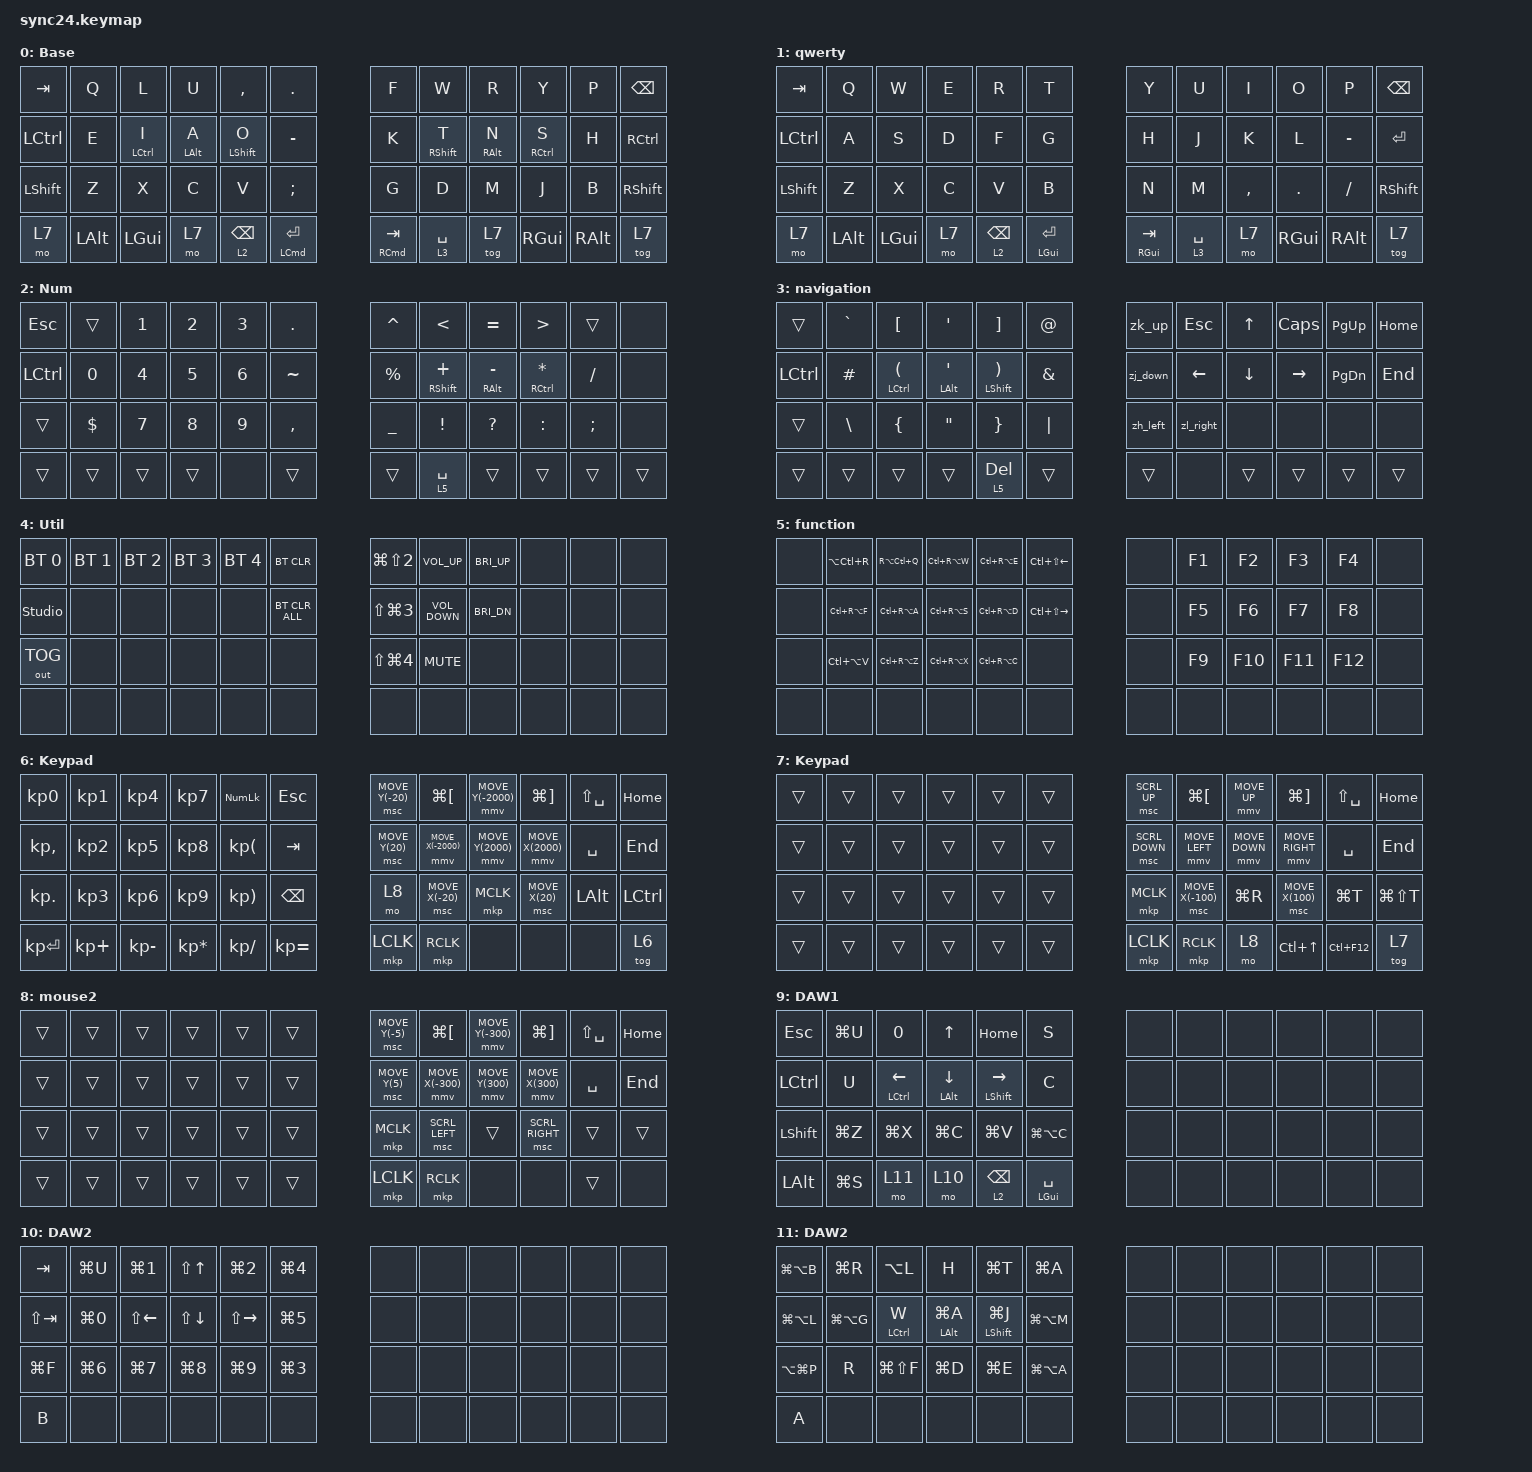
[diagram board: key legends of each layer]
#define ZMK_BEHAVIORS_OMIT_KT

#undef ZMK_BEHAVIORS_KEEP_ALL

#define ZMK_BEHAVIORS_KEEP_SK
#define ZMK_BEHAVIORS_KEEP_MT
#define ZMK_BEHAVIORS_KEEP_KT
#define ZMK_POINTING_DEFAULT_MOVE_VAL 1800    // default: 600
#define ZMK_POINTING_DEFAULT_SCRL_VAL 20      // default: 10

#include <behaviors.dtsi>
#include <dt-bindings/zmk/bt.h>
#include <dt-bindings/zmk/keys.h>
#include <dt-bindings/zmk/outputs.h>
#include <dt-bindings/zmk/pointing.h>

&mt {
    flavor = "tap-preferred";
    tapping-term-ms = <225>;
    quick-tap-ms = <200>;
    require-prior-idle-ms = <150>;
};

&lt {
    flavor = "balanced";
    tapping-term-ms = <175>;
    quick-tap-ms = <200>;
};

&sk {
};

&sl {
};

&caps_word {
};

&key_repeat {
};

&mmv {
    time-to-max-speed-ms = <500>;
    acceleration-exponent = <2>;
};

/ {
    // キー番号早見表：
    // 0  1  2  3  4  5     6  7  8  9 10 11
    // 12 13 14 15 16 17    18 19 20 21 22 23
    // 24 25 26 27 28 29    30 31 32 33 34 35
    // 36 37 38 39 40 41    42 43 44 45 46 47

    combos {
        compatible = "zmk,combos";

        combo_us {
            timeout-ms = <50>;
            key-positions = <3 2>;
            bindings = <&kp LANG2>;
        };

        combo_kana {
            timeout-ms = <50>;
            key-positions = <8 9>;
            bindings = <&kp LANG1>;
        };

        combo_raycast {
            timeout-ms = <50>;
            key-positions = <16 40>;
            bindings = <&kp LG(SPACE)>;
        };

        combo_optspace {
            timeout-ms = <50>;
            key-positions = <19 43>;
            bindings = <&kp LA(SPACE)>;
        };

        Utill {
            bindings = <&mo 4>;
            key-positions = <36 37>;
        };

        keypad {
            bindings = <&tog 6>;
            key-positions = <36 12>;
        };

        QWERTY {
            bindings = <&QWERTY>;
            key-positions = <46 37>;
        };

        daw {
            bindings = <&tog 9>;
            key-positions = <36 24>;
        };
    };

    macros {
        mouse: new_macro {
            compatible = "zmk,behavior-macro";
            #binding-cells = <0>;
            bindings = <&tog 0 &tog 7>;
            label = "NEW_MACRO";
        };

        QWERTY: QWERTY {
            compatible = "zmk,behavior-macro";
            #binding-cells = <0>;
            bindings = <&tog 1 &tog 0>;
            label = "QWERTY";
        };

        zh_left: zh {
            compatible = "zmk,behavior-macro";
            #binding-cells = <0>;
            bindings = <&kp LANGUAGE_1>, <&macro_wait_time 2>, <&kp Z &kp H>;

            label = "ZH";
        };

        zk_up: zk {
            compatible = "zmk,behavior-macro";
            #binding-cells = <0>;
            bindings = <&kp LANGUAGE_1>, <&macro_wait_time 2>, <&kp Z &kp K>;

            label = "ZK";
        };

        zj_down: zj_down {
            compatible = "zmk,behavior-macro";
            #binding-cells = <0>;
            bindings = <&kp LANGUAGE_1>, <&macro_wait_time 2>, <&kp Z &kp J>;

            label = "ZJ_DOWN";
        };

        zl_right: zl_right {
            compatible = "zmk,behavior-macro";
            #binding-cells = <0>;
            bindings = <&kp LANGUAGE_1>, <&macro_wait_time 2>, <&kp Z &kp L>;

            label = "ZL_RIGHT";
        };

        nakaguro: nakaguro {
            compatible = "zmk,behavior-macro";
            #binding-cells = <0>;
            bindings =
                <&kp LANGUAGE_1>,
                <&macro_wait_time 2>,
                <&kp SLASH>,
                <&macro_wait_time 2>,
                <&kp LANGUAGE_2>;

            label = "NAKAGURO";
        };
    };

    behaviors {
        toggle_on: toggle_on {
            compatible = "zmk,behavior-toggle-layer";
            label = "TOGGLE_ON";
            #binding-cells = <1>;
        };

        toggle_off: toggle_off {
            compatible = "zmk,behavior-toggle-layer";
            label = "TOGGLE_OFF";
            #binding-cells = <1>;
            toggle-mode = "off";
        };

        Mous_MoveUp: Mous_MoveUp {
            compatible = "zmk,behavior-tap-dance";
            label = "MOUS_MOVEUP";
            #binding-cells = <0>;
            bindings = <&mmv MOVE_Y(-1200)>, <&mmv MOVE_Y(-2000)>;

            tapping-term-ms = <175>;
        };

        Mouse_MoveDown: Mouse_MoveDown {
            compatible = "zmk,behavior-tap-dance";
            label = "MOUSE_MOVEDOWN";
            #binding-cells = <0>;
            bindings = <&mmv MOVE_Y(1200)>, <&mmv MOVE_Y(2000)>;

            tapping-term-ms = <175>;
        };

        Mouse_MoveLeft: Mouse_MoveLeft {
            compatible = "zmk,behavior-tap-dance";
            label = "MOUSE_MOVELEFT";
            #binding-cells = <0>;
            bindings = <&mmv MOVE_X(-1200)>, <&mmv MOVE_X(-2000)>;

            tapping-term-ms = <175>;
        };

        Mouse_MoveRight: Mouse_MoveRight {
            compatible = "zmk,behavior-tap-dance";
            label = "MOUSE_MOVERIGHT";
            #binding-cells = <0>;
            bindings = <&mmv MOVE_X(1200)>, <&mmv MOVE_X(2000)>;

            tapping-term-ms = <175>;
        };
    };

    keymap {
        compatible = "zmk,keymap";

        // ▄▄▄▄▄▄▄▄▄▄▄▄▄▄▄▄▄▄▄▄▄▄▄▄▄▄▄▄▄▄▄▄▄▄▄▄▄▄▄▄▄▄▄▄▄▄▄▄▄▄▄▄▄▄▄▄▄▄▄▄▄▄▄▄▄▄▄▄▄▄▄▄▄▄▄▄▄▄▄▄▄▄▄▄▄▄▄▄▄▄▄▄▄▄▄▄▄▄▄▄▄▄▄▄▄▄▄▄▄▄▄▄▄▄▄▄▄▄▄▄▄▄▄▄▄▄▄▄▄▄▄▄▄▄▄▄▄▄▄▄▄▄▄▄▄▄▄▄▄

        base {
            display-name = "Base";
            bindings = <
&kp TAB           &kp Q         &kp L         &kp U       &kp COMMA     &kp DOT           &kp F         &kp W         &kp R       &kp Y          &kp P          &kp BACKSPACE
&kp LEFT_CONTROL  &kp E         &mt LCTRL I   &mt LALT A  &mt LSHIFT O  &kp MINUS         &kp K         &mt RSHIFT T  &mt RALT N  &mt RCTRL S    &kp H          &kp RIGHT_CONTROL
&kp LSHFT         &kp Z         &kp X         &kp C       &kp V         &kp SEMI          &kp G         &kp D         &kp M       &kp J          &kp B          &kp RSHIFT
&mo 7             &kp LEFT_ALT  &kp LEFT_GUI  &mo 7       &lt 2 BSPC    &mt LCMD RET      &mt RCMD TAB  &lt 3 SPACE   &tog 7      &kp RIGHT_GUI  &kp RIGHT_ALT  &tog 7
            >;
        };

        QWERTY {
            bindings = <
&kp TAB    &kp Q         &kp W         &kp E  &kp R            &kp T                   &kp Y              &kp U        &kp I      &kp O          &kp P          &kp BSPC
&kp LCTRL  &kp A         &kp S         &kp D  &kp F            &kp G                   &kp H              &kp J        &kp K      &kp L          &kp MINUS      &kp RET
&kp LSHFT  &kp Z         &kp X         &kp C  &kp V            &kp B                   &kp N              &kp M        &kp COMMA  &kp DOT        &kp FSLH       &kp RSHFT
&mo 7      &kp LEFT_ALT  &kp LEFT_GUI  &mo 7  &lt 2 BACKSPACE  &mt LEFT_GUI ENTER      &mt RIGHT_GUI TAB  &lt 3 SPACE  &mo 7      &kp RIGHT_GUI  &kp RIGHT_ALT  &tog 7
            >;

            label = "qwerty";
        };

        num {
            display-name = "Num";
            bindings = <
&kp ESC    &trans    &kp N1  &kp N2  &kp N3  &kp DOT        &kp CARET    &kp LT           &kp EQUAL       &kp GT          &trans    &none
&kp LCTRL  &kp N0    &kp N4  &kp N5  &kp N6  &kp TILDE      &kp PERCENT  &mt RSHIFT PLUS  &mt RALT MINUS  &mt RCTRL STAR  &kp FSLH  &none
&trans     &kp DLLR  &kp N7  &kp N8  &kp N9  &kp COMMA      &kp UNDER    &kp EXCL         &kp QMARK       &kp COLON       &kp SEMI  &none
&trans     &trans    &trans  &trans  &none   &trans         &trans       &lt 5 SPACE      &trans          &trans          &trans    &trans
            >;
        };

        navigation {
            display-name = "navigation";
            bindings = <
&trans     &kp GRAVE  &kp LBKT        &kp SQT            &kp RBKT        &kp AT_SIGN      &zk_up    &kp ESC    &kp UP    &kp CAPS   &kp PG_UP  &kp HOME
&kp LCTRL  &kp HASH   &mt LCTRL LPAR  &mt LALT SQT       &mt LSHFT RPAR  &kp AMPS         &zj_down  &kp LEFT   &kp DOWN  &kp RIGHT  &kp PG_DN  &kp END
&trans     &kp BSLH   &kp LBRC        &kp DOUBLE_QUOTES  &kp RBRC        &kp PIPE         &zh_left  &zl_right  &none     &none      &none      &none
&trans     &trans     &trans          &trans             &lt 5 DEL       &trans           &trans    &none      &trans    &trans     &trans     &trans
            >;
        };

        Utility {
            display-name = "Util";
            bindings = <
&bt BT_SEL 0    &bt BT_SEL 1  &bt BT_SEL 2  &bt BT_SEL 3  &bt BT_SEL 4  &bt BT_CLR          &kp LG(LS(N2))  &kp C_VOLUME_UP    &kp C_BRI_UP  &none  &none  &none
&studio_unlock  &none         &none         &none         &none         &bt BT_CLR_ALL      &kp LS(LG(N3))  &kp C_VOLUME_DOWN  &kp C_BRI_DN  &none  &none  &none
&out OUT_TOG    &none         &none         &none         &none         &none               &kp LS(LG(N4))  &kp K_MUTE         &none         &none  &none  &none
&none           &none         &none         &none         &none         &none               &none           &none              &none         &none  &none  &none
            >;
        };

        function {
            display-name = "function";
            bindings = <
&none  &kp LA(LC(R))  &kp RA(LC(Q))  &kp LC(RA(W))  &kp LC(RA(E))  &kp LC(LS(LEFT_ARROW))       &none  &kp F1  &kp F2   &kp F3   &kp F4   &none
&none  &kp LC(RA(F))  &kp LC(RA(A))  &kp LC(RA(S))  &kp LC(RA(D))  &kp LC(LS(RIGHT_ARROW))      &none  &kp F5  &kp F6   &kp F7   &kp F8   &none
&none  &kp LC(LA(V))  &kp LC(RA(Z))  &kp LC(RA(X))  &kp LC(RA(C))  &none                        &none  &kp F9  &kp F10  &kp F11  &kp F12  &none
&none  &none          &none          &none          &none          &none                        &none  &none   &none    &none    &none    &none
            >;
        };

        keypad {
            display-name = "Keypad";
            bindings = <
&kp KP_NUMBER_0  &kp KP_NUMBER_1  &kp KP_NUMBER_4  &kp KP_NUMBER_7  &kp KP_NUMLOCK            &kp ESCAPE         &msc MOVE_Y(-20)  &kp LG(LEFT_BRACKET)  &mmv MOVE_Y(-2000)  &kp LG(RIGHT_BRACKET)  &kp LS(SPACE)  &kp HOME
&kp KP_COMMA     &kp KP_NUMBER_2  &kp KP_NUMBER_5  &kp KP_NUMBER_8  &kp KP_LEFT_PARENTHESIS   &kp TAB            &msc MOVE_Y(20)   &mmv MOVE_X(-2000)    &mmv MOVE_Y(2000)   &mmv MOVE_X(2000)      &kp SPACE      &kp END
&kp KP_DOT       &kp KP_NUMBER_3  &kp KP_NUMBER_6  &kp KP_NUMBER_9  &kp KP_RIGHT_PARENTHESIS  &kp BACKSPACE      &mo 8             &msc MOVE_X(-20)      &mkp MCLK           &msc MOVE_X(20)        &kp LEFT_ALT   &kp LCTRL
&kp KP_ENTER     &kp KP_PLUS      &kp KP_SUBTRACT  &kp KP_ASTERISK  &kp KP_SLASH              &kp KP_EQUAL       &mkp LCLK         &mkp RCLK             &none               &none                  &none          &tog 6
            >;
        };

        mouse {
            display-name = "Keypad";
            bindings = <
&trans  &trans  &trans  &trans  &trans  &trans      &msc SCRL_UP    &kp LG(LEFT_BRACKET)  &mmv MOVE_UP    &kp LG(RIGHT_BRACKET)  &kp LS(SPACE)  &kp HOME
&trans  &trans  &trans  &trans  &trans  &trans      &msc SCRL_DOWN  &mmv MOVE_LEFT        &mmv MOVE_DOWN  &mmv MOVE_RIGHT        &kp SPACE      &kp END
&trans  &trans  &trans  &trans  &trans  &trans      &mkp MCLK       &msc MOVE_X(-100)     &kp LG(R)       &msc MOVE_X(100)       &kp LG(T)      &kp LG(LS(T))
&trans  &trans  &trans  &trans  &trans  &trans      &mkp LCLK       &mkp RCLK             &mo 8           &kp LC(UP_ARROW)       &kp LC(F12)    &tog 7
            >;

            label = "mouse";
        };

        mouse2 {
            label = "mouse2";
            display-name = "mouse2";
            bindings = <
&trans  &trans  &trans  &trans  &trans  &trans      &msc MOVE_Y(-5)  &kp LG(LEFT_BRACKET)  &mmv MOVE_Y(-300)  &kp LG(RIGHT_BRACKET)  &kp LS(SPACE)  &kp HOME
&trans  &trans  &trans  &trans  &trans  &trans      &msc MOVE_Y(5)   &mmv MOVE_X(-300)     &mmv MOVE_Y(300)   &mmv MOVE_X(300)       &kp SPACE      &kp END
&trans  &trans  &trans  &trans  &trans  &trans      &mkp MCLK        &msc SCRL_LEFT        &trans             &msc SCRL_RIGHT        &trans         &trans
&trans  &trans  &trans  &trans  &trans  &trans      &mkp LCLK        &mkp RCLK             &none              &none                  &trans         &none
            >;
        };

        layer_9 {
            display-name = "DAW1";
            bindings = <
&kp ESCAPE  &kp LG(U)  &kp N0          &kp UP         &kp HOME         &kp S               &none  &none  &none  &none  &none  &none
&kp LCTRL   &kp U      &mt LCTRL LEFT  &mt LALT DOWN  &mt LSHFT RIGHT  &kp C               &none  &none  &none  &none  &none  &none
&kp LSHFT   &kp LG(Z)  &kp LG(X)       &kp LG(C)      &kp LG(V)        &kp LG(LA(C))       &none  &none  &none  &none  &none  &none
&kp LALT    &kp LG(S)  &mo 11          &mo 10         &lt 2 BSPC       &mt LGUI SPACE      &none  &none  &none  &none  &none  &none
            >;
        };

        layer_10 {
            display-name = "DAW2";
            bindings = <
&kp TAB      &kp LG(U)   &kp LG(N1)    &kp LS(UP)    &kp LG(N2)     &kp LG(N4)      &none  &none  &none  &none  &none  &none
&kp LS(TAB)  &kp LG(N0)  &kp LS(LEFT)  &kp LS(DOWN)  &kp LS(RIGHT)  &kp LG(N5)      &none  &none  &none  &none  &none  &none
&kp LG(F)    &kp LG(N6)  &kp LG(N7)    &kp LG(N8)    &kp LG(N9)     &kp LG(N3)      &none  &none  &none  &none  &none  &none
&kp B        &none       &none         &none         &none          &none           &none  &none  &none  &none  &none  &none
            >;
        };

        layer_11 {
            display-name = "DAW2";
            bindings = <
&kp LG(LA(B))  &kp LG(R)      &kp LA(L)      &kp H           &kp LG(T)        &kp LG(A)          &none  &none  &none  &none  &none  &none
&kp LG(LA(L))  &kp LG(LA(G))  &mt LCTRL W    &mt LALT LG(A)  &mt LSHFT LG(J)  &kp LG(LA(M))      &none  &none  &none  &none  &none  &none
&kp LA(LG(P))  &kp R          &kp LG(LS(F))  &kp LG(D)       &kp LG(E)        &kp LG(LA(A))      &none  &none  &none  &none  &none  &none
&kp A          &none          &none          &none           &none            &none              &none  &none  &none  &none  &none  &none
            >;
        };
    };

    conditional_layers { compatible = "zmk,conditional-layers"; };
};
